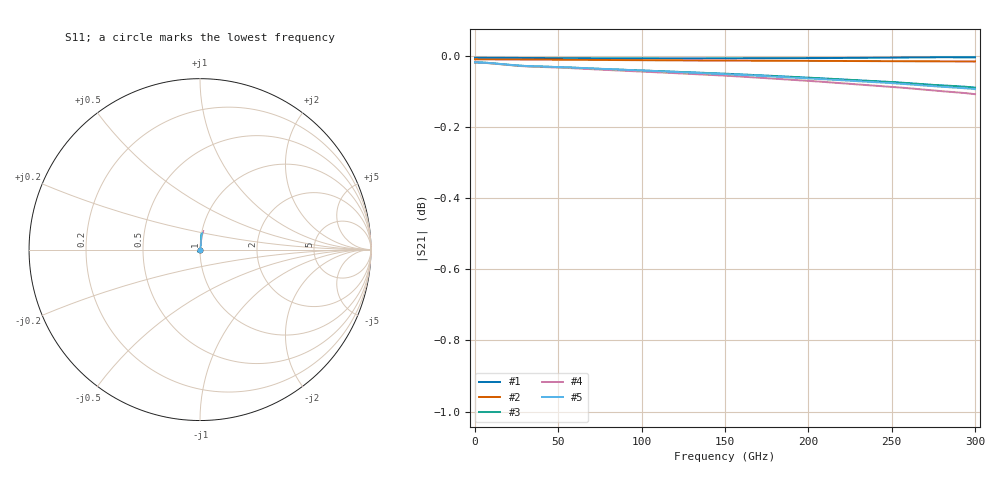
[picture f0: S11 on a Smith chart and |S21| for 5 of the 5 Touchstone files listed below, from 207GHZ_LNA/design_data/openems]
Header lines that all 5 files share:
#  Hz  S  RI  R  50
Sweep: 100 MHz to 300 GHz
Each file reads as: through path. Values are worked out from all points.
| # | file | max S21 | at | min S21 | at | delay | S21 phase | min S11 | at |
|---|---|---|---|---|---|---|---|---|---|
| 1 | 3rd_Dgen.s2p | 0.00 dB | 283.8 GHz | 0.0 dB | 115.5 GHz | 120 fs | -6 deg at 150.1 GHz | -64.7 dB | 100 MHz |
| 2 | 4th_Dgen.s2p | -0.01 dB | 800 MHz | 0.0 dB | 300 GHz | - | -3 deg at 150.1 GHz | -59.1 dB | 100 MHz |
| 3 | TL_stage1.s2p | -0.02 dB | 100 MHz | -0.1 dB | 300 GHz | 369 fs | -20 deg at 150.1 GHz | -53.5 dB | 100 MHz |
| 4 | TL_stage3.s2p | -0.02 dB | 100 MHz | -0.1 dB | 300 GHz | 362 fs | -20 deg at 150.1 GHz | -53.2 dB | 100 MHz |
| 5 | TL_stage4.s2p | -0.02 dB | 100 MHz | -0.1 dB | 300 GHz | 356 fs | -19 deg at 150.1 GHz | -53.5 dB | 100 MHz |
